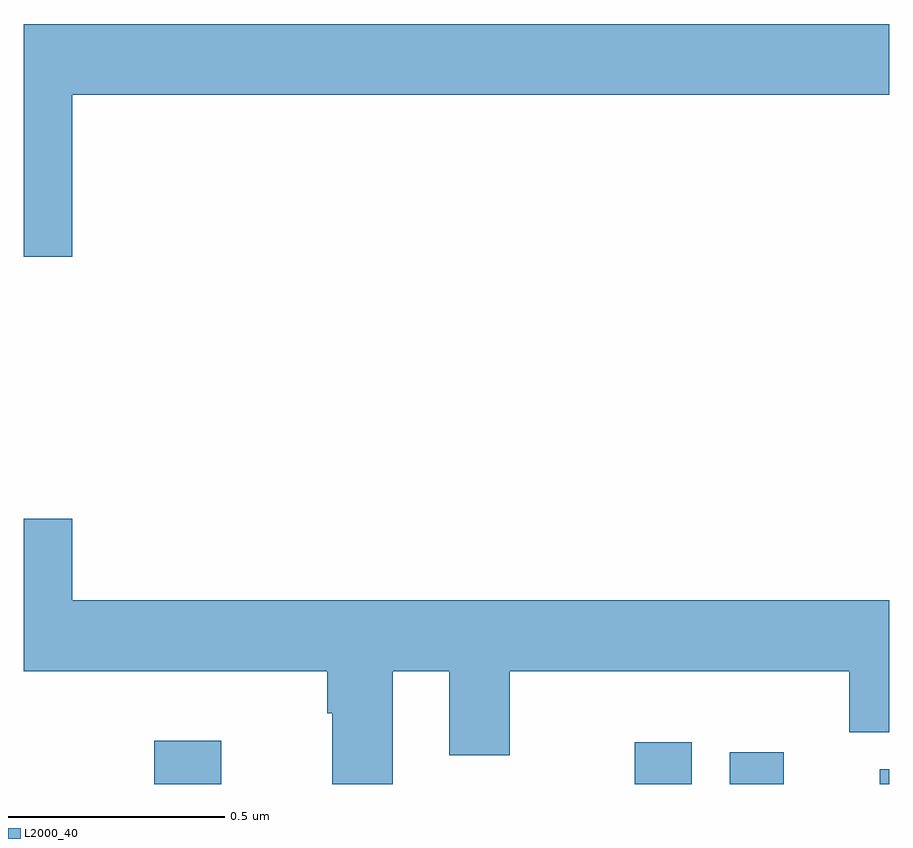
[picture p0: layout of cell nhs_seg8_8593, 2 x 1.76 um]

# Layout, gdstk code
import gdstk
lib = gdstk.Library(unit=1e-6, precision=1e-09)
def R(c, l, rs):  # rectangles x0, y0, x1, y1
    for r in rs: c.add(gdstk.rectangle(r[:2], r[2:], *l))
def P(c, l, *ps):  # polygons
    for p in ps: c.add(gdstk.Polygon(p, *l))
L2000_40 = (2000, 40)

nhs_seg8_8593 = lib.new_cell('nhs_seg8_8593')
R(nhs_seg8_8593, L2000_40, [(225.302,1122.9,225.457,1123), (226.412,1122.9,226.543,1122.997), (226.631,1122.9,226.756,1122.973), (226.978,1122.9,227,1122.934)])
P(nhs_seg8_8593, L2000_40, [(225.112,1124.492),(227,1124.492),(227,1124.656),(225,1124.656),(225,1124.118),(225.112,1124.118)],
  [(225.853,1123.16),(225.983,1123.16),(225.983,1122.966),(226.123,1122.966),(226.123,1123.16),(226.907,1123.16),(226.907,1123.019),(227,1123.019),(227,1123.324),(225.112,1123.324),(225.112,1123.513),(225,1123.513),(225,1123.16),(225.701,1123.16),(225.701,1123.064),(225.713,1123.064),(225.713,1122.9),(225.853,1122.9)])

lib.write_gds('nhs_seg8_8593.gds')
